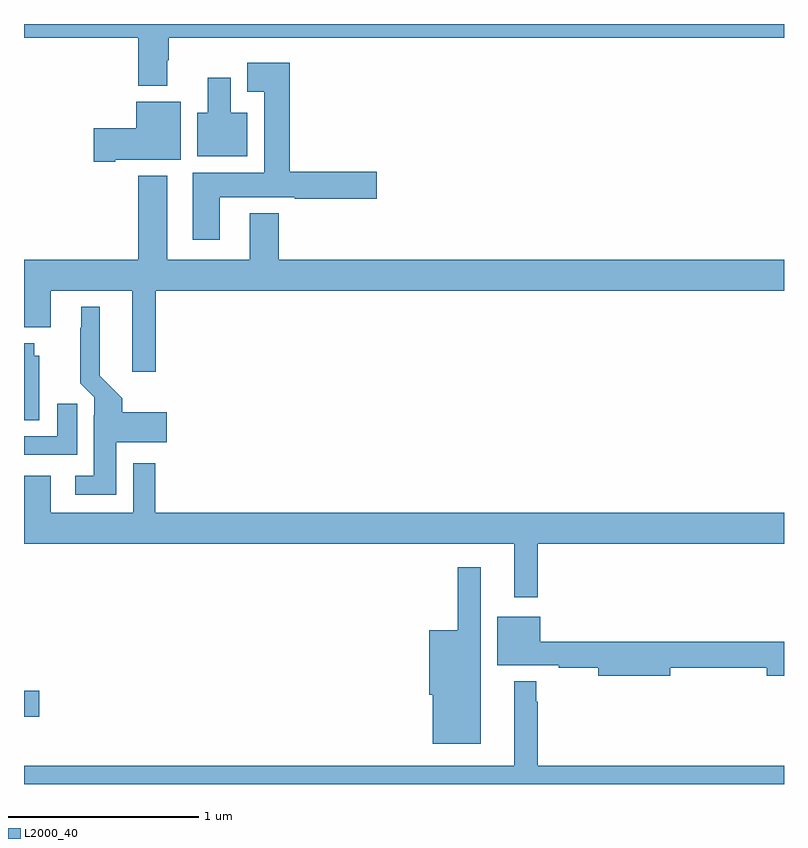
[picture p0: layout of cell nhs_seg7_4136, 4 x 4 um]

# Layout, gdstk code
import gdstk
lib = gdstk.Library(unit=1e-6, precision=1e-09)
def R(c, l, rs):  # rectangles x0, y0, x1, y1
    for r in rs: c.add(gdstk.rectangle(r[:2], r[2:], *l))
def P(c, l, *ps):  # polygons
    for p in ps: c.add(gdstk.Polygon(p, *l))
L2000_40 = (2000, 40)

nhs_seg7_4136 = lib.new_cell('nhs_seg7_4136')
R(nhs_seg7_4136, L2000_40, [(373,1018.355,373.081,1018.49)])
P(nhs_seg7_4136, L2000_40, [(373.753,1021.808),(373.761,1021.808),(373.761,1021.928),(377,1021.928),(377,1022),(373,1022),(373,1021.928),(373.601,1021.928),(373.601,1021.676),(373.753,1021.676)],
  [(374.029,1021.088),(374.425,1021.088),(374.425,1021.081),(374.857,1021.081),(374.857,1021.223),(374.399,1021.223),(374.399,1021.795),(374.174,1021.795),(374.174,1021.643),(374.264,1021.643),(374.264,1021.216),(373.889,1021.216),(373.889,1020.864),(374.029,1020.864)],
  [(374.176,1021.534),(374.089,1021.534),(374.089,1021.717),(373.967,1021.717),(373.967,1021.534),(373.913,1021.534),(373.913,1021.304),(374.176,1021.304)],
  [(373.48,1021.286),(373.825,1021.286),(373.825,1021.591),(373.592,1021.591),(373.592,1021.452),(373.368,1021.452),(373.368,1021.274),(373.48,1021.274)],
  [(373.694,1020.596),(377,1020.596),(377,1020.76),(374.342,1020.76),(374.342,1021.003),(374.189,1021.003),(374.189,1020.76),(373.753,1020.76),(373.753,1021.201),(373.601,1021.201),(373.601,1020.76),(373,1020.76),(373,1020.404),(373.141,1020.404),(373.141,1020.596),(373.571,1020.596),(373.571,1020.171),(373.694,1020.171)],
  [(373.486,1019.798),(373.75,1019.798),(373.75,1019.956),(373.517,1019.956),(373.517,1020.03),(373.399,1020.148),(373.399,1020.511),(373.301,1020.511),(373.301,1020.401),(373.297,1020.401),(373.297,1020.11),(373.371,1020.036),(373.371,1019.942),(373.367,1019.942),(373.367,1019.623),(373.269,1019.623),(373.269,1019.522),(373.486,1019.522)],
  [(373.081,1020.255),(373.054,1020.255),(373.054,1020.319),(373,1020.319),(373,1019.914),(373.081,1019.914)],
  [(373.279,1020.001),(373.175,1020.001),(373.175,1019.829),(373,1019.829),(373,1019.733),(373.279,1019.733)],
  [(375.703,1019.264),(377,1019.264),(377,1019.428),(373.691,1019.428),(373.691,1019.689),(373.575,1019.689),(373.575,1019.428),(373.141,1019.428),(373.141,1019.623),(373.001,1019.623),(373.001,1019.428),(373,1019.428),(373,1019.264),(375.581,1019.264),(375.581,1018.983),(375.703,1018.983)],
  [(375.403,1019.14),(375.282,1019.14),(375.282,1018.81),(375.134,1018.81),(375.134,1018.47),(375.152,1018.47),(375.152,1018.211),(375.403,1018.211)],
  [(376.402,1018.612),(376.91,1018.612),(376.91,1018.57),(377,1018.57),(377,1018.748),(375.718,1018.748),(375.718,1018.879),(375.491,1018.879),(375.491,1018.625),(375.814,1018.625),(375.814,1018.612),(376.022,1018.612),(376.022,1018.57),(376.402,1018.57)],
  [(377,1018.096),(375.703,1018.096),(375.703,1018.433),(375.696,1018.433),(375.696,1018.54),(375.581,1018.54),(375.581,1018.096),(373,1018.096),(373,1018),(377,1018)])

lib.write_gds('nhs_seg7_4136.gds')
